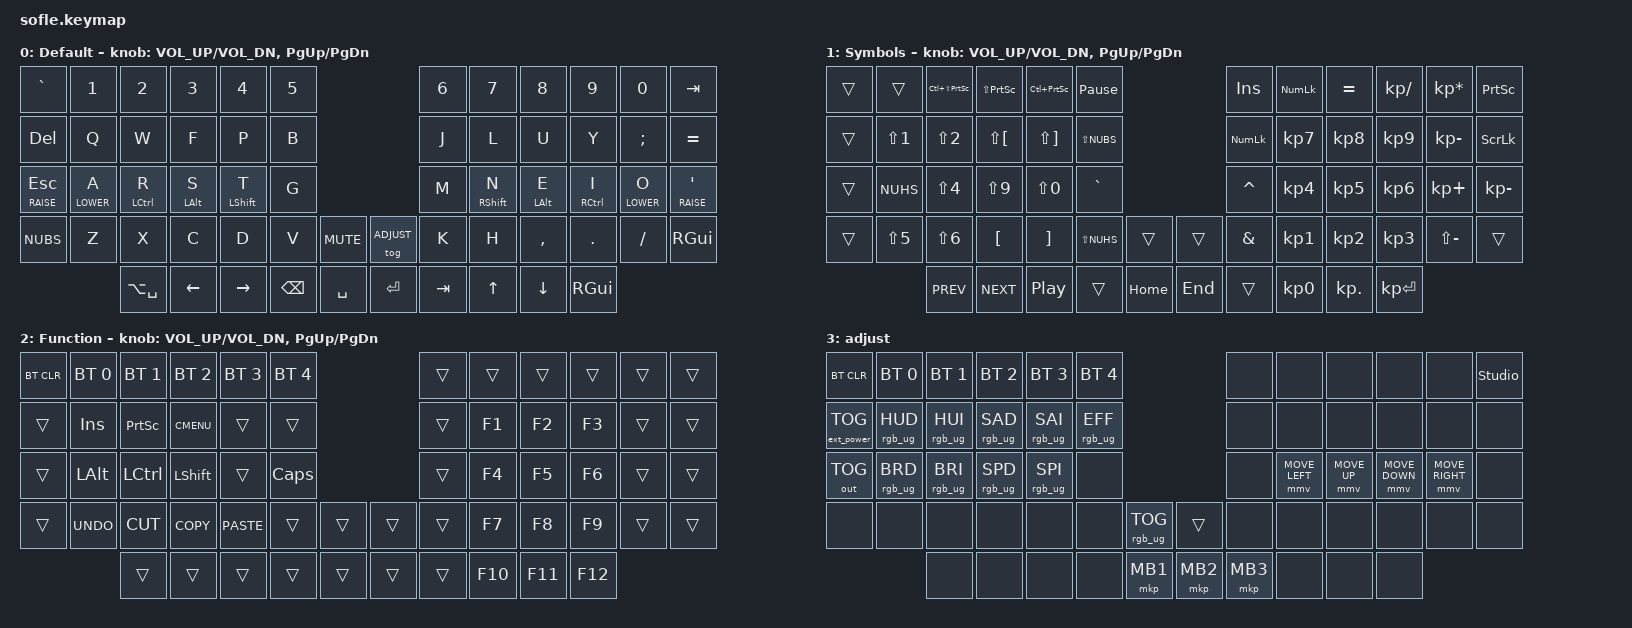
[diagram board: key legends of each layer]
/*
 * Copyright (c) 2020 The ZMK Contributors
 *
 * SPDX-License-Identifier: MIT
 */

#include <behaviors.dtsi>
#include <dt-bindings/zmk/bt.h>
#include <dt-bindings/zmk/ext_power.h>
#include <dt-bindings/zmk/keys.h>
#include <dt-bindings/zmk/outputs.h>
#include <dt-bindings/zmk/pointing.h>
#include <dt-bindings/zmk/rgb.h>

#define BASE 0
#define LOWER 1
#define RAISE 2
#define ADJUST 3

&led_strip { chain-length = <36>; };

&nice_view_spi { cs-gpios = <&pro_micro 4 GPIO_ACTIVE_HIGH>; };

/ {
    // Activate ADJUST layer by pressing raise and lower
    /* conditional_layers { */
    /*     compatible = "zmk,conditional-layers"; */
    /*     adjust_layer { */
    /*         if-layers = <LOWER RAISE>; */
    /*         then-layer = <ADJUST>; */
    /*     }; */
    /* }; */

    keymap {
        compatible = "zmk,keymap";

        default_layer {
            display-name = "Default";
            bindings = <
&kp GRAVE      &kp N1       &kp N2         &kp N3      &kp N4       &kp N5                               &kp N6   &kp N7       &kp N8      &kp N9       &kp N0       &kp TAB
&kp DEL        &kp Q        &kp W          &kp F       &kp P        &kp B                                &kp J    &kp L        &kp U       &kp Y        &kp SEMI     &kp EQUAL
&lt RAISE ESC  &lt LOWER A  &mt LCTRL R    &mt LALT S  &mt LSHFT T  &kp G                                &kp M    &mt RSHFT N  &mt LALT E  &mt RCTRL I  &lt LOWER O  &lt RAISE SQT
&kp NUBS       &kp Z        &kp X          &kp C       &kp D        &kp V     &kp C_MUTE    &tog ADJUST  &kp K    &kp H        &kp COMMA   &kp DOT      &kp FSLH     &kp RIGHT_GUI
                            &kp LA(SPACE)  &kp LEFT    &kp RIGHT    &kp BSPC  &kp SPACE     &kp RET      &kp TAB  &kp UP       &kp DOWN    &kp RGUI
            >;

            sensor-bindings = <&inc_dec_kp C_VOL_UP C_VOL_DN &inc_dec_kp PG_UP PG_DN>;
        };

        symbols_layer {
            display-name = "Symbols";
            bindings = <
&trans  &trans      &kp LC(LS(PSCRN))  &kp LS(PSCRN)  &kp LC(PSCRN)  &kp PAUSE_BREAK                       &kp INS     &kp KP_NUM  &kp EQUAL   &kp KP_SLASH  &kp KP_MULTIPLY  &kp PSCRN
&trans  &kp LS(N1)  &kp LS(N2)         &kp LS(LBKT)   &kp LS(RBKT)   &kp LS(NUBS)                          &kp KP_NUM  &kp KP_N7   &kp KP_N8   &kp KP_N9     &kp KP_MINUS     &kp SLCK
&trans  &kp NUHS    &kp LS(N4)         &kp LS(N9)     &kp LS(N0)     &kp GRAVE                             &kp CARET   &kp KP_N4   &kp KP_N5   &kp KP_N6     &kp KP_PLUS      &kp KP_MINUS
&trans  &kp LS(N5)  &kp LS(N6)         &kp LBKT       &kp RBKT       &kp LS(NUHS)     &trans      &trans   &kp AMPS    &kp KP_N1   &kp KP_N2   &kp KP_N3     &kp LS(MINUS)    &trans
                    &kp C_PREV         &kp C_NEXT     &kp C_PP       &trans           &kp HOME    &kp END  &trans      &kp KP_N0   &kp KP_DOT  &kp KP_ENTER
            >;

            sensor-bindings = <&inc_dec_kp C_VOL_UP C_VOL_DN &inc_dec_kp PG_UP PG_DN>;
        };

        functions_layer {
            display-name = "Function";
            bindings = <
&bt BT_CLR  &bt BT_SEL 0  &bt BT_SEL 1  &bt BT_SEL 2  &bt BT_SEL 3  &bt BT_SEL 4                    &trans  &trans   &trans   &trans   &trans  &trans
&trans      &kp INS       &kp PSCRN     &kp K_CMENU   &trans        &trans                          &trans  &kp F1   &kp F2   &kp F3   &trans  &trans
&trans      &kp LALT      &kp LCTRL     &kp LSHFT     &trans        &kp CLCK                        &trans  &kp F4   &kp F5   &kp F6   &trans  &trans
&trans      &kp K_UNDO    &kp K_CUT     &kp K_COPY    &kp K_PASTE   &trans        &trans    &trans  &trans  &kp F7   &kp F8   &kp F9   &trans  &trans
                          &trans        &trans        &trans        &trans        &trans    &trans  &trans  &kp F10  &kp F11  &kp F12
            >;

            sensor-bindings = <&inc_dec_kp C_VOL_UP C_VOL_DN &inc_dec_kp PG_UP PG_DN>;
        };

        adjust_layer {
            display-name = "adjust";
            bindings = <
&bt BT_CLR         &bt BT_SEL 0     &bt BT_SEL 1     &bt BT_SEL 2     &bt BT_SEL 3     &bt BT_SEL 4                                  &none     &none           &none         &none           &none            &studio_unlock
&ext_power EP_TOG  &rgb_ug RGB_HUD  &rgb_ug RGB_HUI  &rgb_ug RGB_SAD  &rgb_ug RGB_SAI  &rgb_ug RGB_EFF                               &none     &none           &none         &none           &none            &none
&out OUT_TOG       &rgb_ug RGB_BRD  &rgb_ug RGB_BRI  &rgb_ug RGB_SPD  &rgb_ug RGB_SPI  &none                                         &none     &mmv MOVE_LEFT  &mmv MOVE_UP  &mmv MOVE_DOWN  &mmv MOVE_RIGHT  &none
&none              &none            &none            &none            &none            &none            &rgb_ug RGB_TOG    &trans    &none     &none           &none         &none           &none            &none
                                    &none            &none            &none            &none            &mkp MB1           &mkp MB2  &mkp MB3  &none           &none         &none
            >;
        };
    };
};
